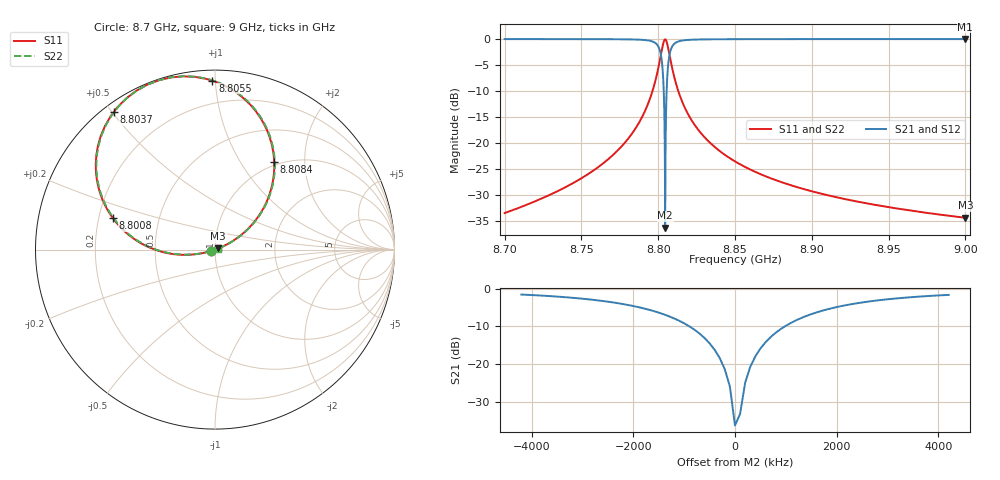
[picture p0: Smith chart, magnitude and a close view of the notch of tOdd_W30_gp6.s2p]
! Sonnet Data File
! From: emgraph Version : 16.52
! From Project: transmon_trial2
! Data is De-embedded
! Data File Written: 10/20/2017 10:41:09
!< HDATE 10/20/2017 09:51:02
!< MDATE 10/20/2017 09:51:02
!< PARAMS
!< Lj = 15.24
!< Gap = 6.0
!< Width = 30.0
!< Airgap = 18.0
!< Pwidth = 2000.0
!< END PARAMS
# GHZ S MA R 41.17000
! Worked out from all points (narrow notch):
!   3001 points, 8.7 GHz to 9 GHz, reference 41.17 ohm
!   highest |S21| = 0.00 dB at 8.9999 GHz (marker M1); lowest = -36.3 dB at 8.8045 GHz (marker M2)
!   notch at M2: 36.3 dB deep, 705 kHz wide at half that depth
!   lowest |S11| = -34.4 dB at 9 GHz (marker M3), VSWR 1.04, Z = 42.7 + j0.542 ohm
!   |S11| at or under -10 dB: start of sweep to 8.7963 GHz; 8.8131 GHz to end of sweep
!   |S22| runs from -34.4 to 0.0 dB; largest |S21 - S12| = 0
!   S11 on the Smith chart (normalised r, x): 8.7 GHz: 0.96, -0.01; 8.8008 GHz: 0.26, +0.14; 8.8037 GHz: 0.03, +0.51; 8.8055 GHz: 0.06, +0.98; 8.8084 GHz: 0.95, +1.42; 9 GHz: 1.04, +0.01
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8.7  0.02121 -160.9  0.9998 -70.9  0.9998 -70.9  0.02121 -160.9
!< P1 F=8.7 Eeff=(4.89554446 -6.0516e-5) Z0=(41.1855282 -1.5157e-4) R=0.0 C=0.0
!< P2 F=8.7 Eeff=(4.89554446 -6.0516e-5) Z0=(41.1855282 -1.5157e-4) R=0.0 C=0.0
8.75  0.04585 -162.6  0.9989 -72.7  0.9989 -72.7  0.04585 -162.9
8.7693  0.07387 -164.4  0.9972 -74.5  0.9972 -74.5  0.07387 -164.7
8.7835  0.1267 -167.5  0.9918 -77.7  0.9918 -77.7  0.1267 -167.9
8.794  0.2519 -175.0  0.9674 -85.0  0.9674 -85.0  0.2519 -175.3
8.7977  0.3744 177.6  0.9264 -92.5  0.9264 -92.5  0.3744 177.2
8.8  0.5209 168.1  0.8518 -101.9  0.8518 -101.9  0.5209 167.7
8.8008  0.5954 162.9  0.8009 -107.1  0.8009 -107.1  0.5954 162.5
8.8024  0.7905 147.0  0.6066 -122.8  0.6066 -122.8  0.7905 146.6
8.8037  0.9528 126.3  0.2864 -142.8  0.2864 -142.8  0.9528 125.9
8.8045  0.9943 110.5  0.01537 -138.5  0.01537 -138.5  0.9943 110.1
8.8055  0.9415 90.9  0.322 -0.3  0.322 -0.3  0.9415 90.5
8.8067  0.7904 72.3  0.607 -18.3  0.607 -18.3  0.7904 71.9
8.8084  0.589 55.9  0.8058 -34.5  0.8058 -34.5  0.589 55.6
8.8118  0.364 41.1  0.9306 -49.2  0.9306 -49.2  0.364 40.7
8.8175  0.2161 32.1  0.9761 -58.2  0.9761 -58.2  0.2161 31.7
8.8306  0.112 25.9  0.9936 -64.3  0.9936 -64.3  0.112 25.5
8.85  0.06666 23.2  0.9977 -67.1  0.9977 -67.1  0.06666 22.7
8.9  0.03439 21.0  0.9994 -69.3  0.9994 -69.3  0.03439 20.4
8.95  0.02419 20.0  0.9997 -70.3  0.9997 -70.3  0.02419 19.3
8.9999  0.01914 19.4  0.9998 -71.0  0.9998 -71.0  0.01914 18.6
9  0.01914 19.4  0.9998 -71.0  0.9998 -71.0  0.01914 18.6
